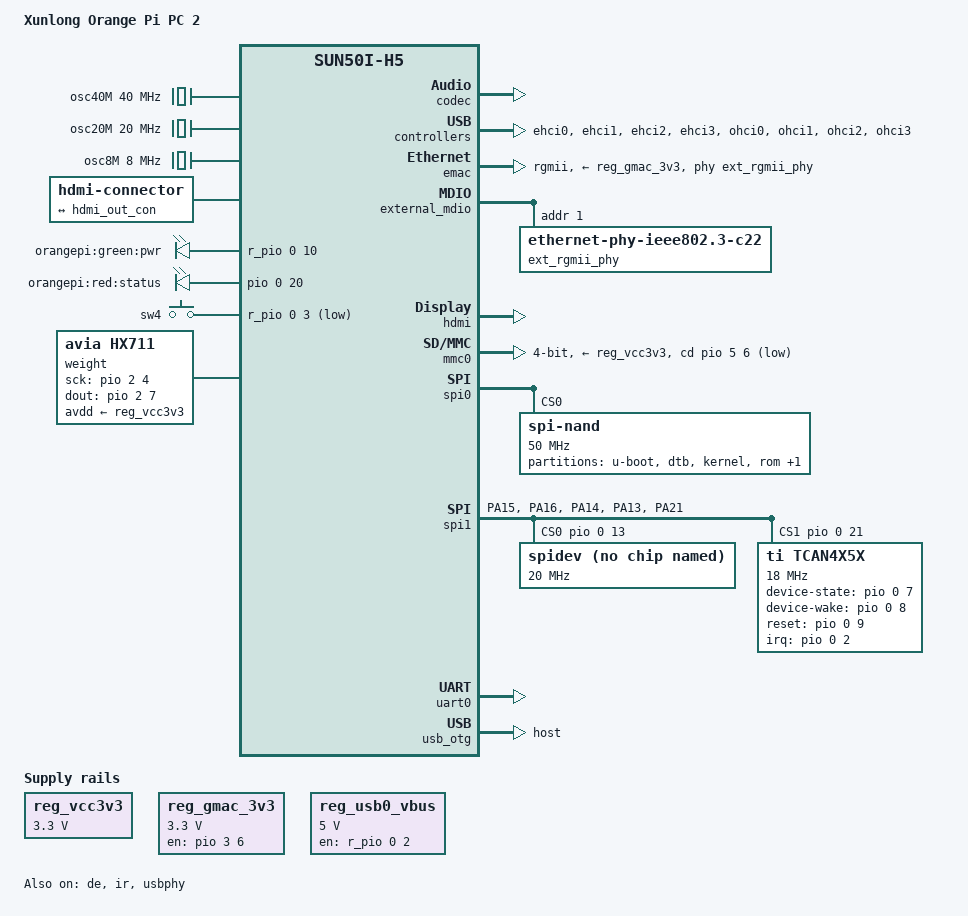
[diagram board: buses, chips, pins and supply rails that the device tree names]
/*
 * Copyright (C) 2016 ARM Ltd.
 *
 * This file is dual-licensed: you can use it either under the terms
 * of the GPL or the X11 license, at your option. Note that this dual
 * licensing only applies to this file, and not this project as a
 * whole.
 *
 *  a) This file is free software; you can redistribute it and/or
 *     modify it under the terms of the GNU General Public License as
 *     published by the Free Software Foundation; either version 2 of the
 *     License, or (at your option) any later version.
 *
 *     This file is distributed in the hope that it will be useful,
 *     but WITHOUT ANY WARRANTY; without even the implied warranty of
 *     MERCHANTABILITY or FITNESS FOR A PARTICULAR PURPOSE.  See the
 *     GNU General Public License for more details.
 *
 * Or, alternatively,
 *
 *  b) Permission is hereby granted, free of charge, to any person
 *     obtaining a copy of this software and associated documentation
 *     files (the "Software"), to deal in the Software without
 *     restriction, including without limitation the rights to use,
 *     copy, modify, merge, publish, distribute, sublicense, and/or
 *     sell copies of the Software, and to permit persons to whom the
 *     Software is furnished to do so, subject to the following
 *     conditions:
 *
 *     The above copyright notice and this permission notice shall be
 *     included in all copies or substantial portions of the Software.
 *
 *     THE SOFTWARE IS PROVIDED "AS IS", WITHOUT WARRANTY OF ANY KIND,
 *     EXPRESS OR IMPLIED, INCLUDING BUT NOT LIMITED TO THE WARRANTIES
 *     OF MERCHANTABILITY, FITNESS FOR A PARTICULAR PURPOSE AND
 *     NONINFRINGEMENT. IN NO EVENT SHALL THE AUTHORS OR COPYRIGHT
 *     HOLDERS BE LIABLE FOR ANY CLAIM, DAMAGES OR OTHER LIABILITY,
 *     WHETHER IN AN ACTION OF CONTRACT, TORT OR OTHERWISE, ARISING
 *     FROM, OUT OF OR IN CONNECTION WITH THE SOFTWARE OR THE USE OR
 *     OTHER DEALINGS IN THE SOFTWARE.
 */

/dts-v1/;
#include "sun50i-h5.dtsi"

#include <dt-bindings/gpio/gpio.h>
#include <dt-bindings/input/input.h>
#include <dt-bindings/pinctrl/sun4i-a10.h>

/ {
	model = "Xunlong Orange Pi PC 2";
	compatible = "xunlong,orangepi-pc2", "allwinner,sun50i-h5";

	reg_vcc3v3: vcc3v3 {
		compatible = "regulator-fixed";
		regulator-name = "vcc3v3";
		regulator-min-microvolt = <3300000>;
		regulator-max-microvolt = <3300000>;
	};

	aliases {
		ethernet0 = &emac;
		serial0 = &uart0;
	};

	chosen {
		stdout-path = "serial0:115200n8";
	};

	clocks {
		osc40M: osc40M_clk {
			#clock-cells = <0>;
			compatible = "fixed-clock";
			clock-frequency = <40000000>;
			clock-accuracy = <50000>;
			clock-output-names = "osc40M";
		};
	
		osc20M: osc20M_clk {
			#clock-cells = <0>;
			compatible = "fixed-clock";
			clock-frequency = <20000000>;
			clock-accuracy = <50000>;
			clock-output-names = "osc20M";
		};

		osc8M: osc8M_clk {
			#clock-cells = <0>;
			compatible = "fixed-clock";
			clock-frequency = <8000000>;
			clock-accuracy = <50000>;
			clock-output-names = "osc8M";
		};
	};

	connector {
		compatible = "hdmi-connector";
		type = "a";

		port {
			hdmi_con_in: endpoint {
				remote-endpoint = <&hdmi_out_con>;
			};
		};
	};

	leds {
		compatible = "gpio-leds";

		pwr {
			label = "orangepi:green:pwr";
			gpios = <&r_pio 0 10 GPIO_ACTIVE_HIGH>;
			default-state = "on";
			linux,default-trigger = "heartbeat";
		};

		status {
			label = "orangepi:red:status";
			gpios = <&pio 0 20 GPIO_ACTIVE_HIGH>;
			default-state = "on";
			linux,default-trigger = "timer";
		};
	};

	r-gpio-keys {
		compatible = "gpio-keys";

		sw4 {
			label = "sw4";
			linux,code = <KEY_POWER>;
			gpios = <&r_pio 0 3 GPIO_ACTIVE_LOW>;
		};
	};

	reg_gmac_3v3: gmac-3v3 {
		compatible = "regulator-fixed";
		regulator-name = "gmac-3v3";
		regulator-min-microvolt = <3300000>;
		regulator-max-microvolt = <3300000>;
		startup-delay-us = <100000>;
		enable-active-high;
		gpio = <&pio 3 6 GPIO_ACTIVE_HIGH>;
	};

	reg_usb0_vbus: usb0-vbus {
		compatible = "regulator-fixed";
		regulator-name = "usb0-vbus";
		regulator-min-microvolt = <5000000>;
		regulator-max-microvolt = <5000000>;
		enable-active-high;
		gpio = <&r_pio 0 2 GPIO_ACTIVE_HIGH>; /* PL2 */
		status = "okay";
	};

	weight {
        compatible = "avia,hx711";
		//pinctrl-names = "default";
		//pinctrl-0 = <&hx711_pins>;
        sck-gpios = <&pio 2 4 GPIO_ACTIVE_HIGH>;
        dout-gpios = <&pio 2 7 GPIO_ACTIVE_HIGH>;
        avdd-supply = <&reg_vcc3v3>;
        clock-frequency = <400000>;
        status = "okay";
    };
};

&codec {
	allwinner,audio-routing =
		"Line Out", "LINEOUT",
		"MIC1", "Mic",
		"Mic",  "MBIAS";
	status = "okay";
};

&de {
	status = "okay";
};

&ehci0 {
	status = "okay";
};

&ehci1 {
	status = "okay";
};

&ehci2 {
	status = "okay";
};

&ehci3 {
	status = "okay";
};

&emac {
	pinctrl-names = "default";
	pinctrl-0 = <&emac_rgmii_pins>;
	phy-supply = <&reg_gmac_3v3>;
	phy-handle = <&ext_rgmii_phy>;
	phy-mode = "rgmii";
	status = "okay";
};

&external_mdio {
	ext_rgmii_phy: ethernet-phy@1 {
		compatible = "ethernet-phy-ieee802.3-c22";
		reg = <1>;
	};
};

&hdmi {
	status = "okay";
};

&hdmi_out {
	hdmi_out_con: endpoint {
		remote-endpoint = <&hdmi_con_in>;
	};
};

&ir {
	pinctrl-names = "default";
	pinctrl-0 = <&r_ir_rx_pin>;
	status = "okay";
};

&mmc0 {
	vmmc-supply = <&reg_vcc3v3>;
	bus-width = <4>;
	cd-gpios = <&pio 5 6 GPIO_ACTIVE_LOW>; /* PF6 */
	status = "okay";
};

&ohci0 {
	status = "okay";
};

&ohci1 {
	status = "okay";
};

&ohci2 {
	status = "okay";
};

&ohci3 {
	status = "okay";
};

&spi0  {
	status = "okay";

	spi-nor@0 {
		#address-cells = <1>;
		#size-cells = <1>;
		compatible = "jedec,spi-nor";
		reg = <0>;
		spi-max-frequency = <40000000>;
		status = "disabled";

		partitions {
			compatible = "fixed-partitions";
			#address-cells = <1>;
			#size-cells = <1>;

			partition@0 {
				label = "u-boot";
				reg = <0x000000 0x0E0000>;
			};
			partition@e0000 {
				label = "u-boot-env";
				reg = <0x0E0000 0x020000>;
			};
			partition@100000 {
				label = "ubi";
				reg = <0x100000 0x100000>;
			};

		};
	};

	spi-nand@0 {
		#address-cells = <1>;
		#size-cells = <1>;
		compatible = "spi-nand";
		reg = <0>;
		spi-max-frequency = <50000000>;
		status = "okay";

		partitions {
			compatible = "fixed-partitions";
			#address-cells = <1>;
			#size-cells = <1>;

			partition@0 {
				label = "u-boot";
				reg = <0x000000 0x80000>;
				read-only;
			};

			partition@1 {
				label = "dtb";
				reg = <0x80000 0x20000>;
				read-only;
			};

			partition@2 {
				label = "kernel";
				reg = <0x100000 0x700000>;
				read-only;
			};

			partition@3 {
				label = "rom";
				reg = <0x800000 0x4000000>;
				read-only;
			};

			partition@4 {
				label = "overlay";
				reg = <0x4800000 0x3000000>;
			};
		};
	};
};

&pio {
	can0_pin_irq: can0_pin_irq {
		pins = "PA2";
		function = "irq";
	};

	can1_pin_irq: can1_pin_irq {
		pins = "PA9";
		function = "irq";
	};

	spi1_pins_cs1: spi1_pins_cs1 {
		pins = "PA13", "PA21";
		function = "gpio_out";
	};

	tcan4x5x_pins: tcan4x5x_pins {
		pins = "PA8", "PA9";
		function = "gpio_out";
	};

	tcan4x5x_pins_in: tcan4x5x_pins_in {
		pins = "PA7";
		function = "gpio_in";
	};

	rc522_reset_pins: rc522_reset_pins {
		pins = "PA3";
		function = "gpio_out";
	};

	rc522_irq_pins: rc522_irq_pins {
		pins = "PA2";
		function = "gpio_in";
	};

	hx711_pins: hx711_pins {
		pins = "PC4", "PC7";
		function = "gpio_out";
	};

	spi1_pins: spi1-pins {
		pins = "PA15", "PA16", "PA14", "PA13";
		function = "spi1";
	};
};

&spi1 {
	#address-cells = <1>;
	#size-cells = <0>;
	pinctrl-names = "default";
	spi-num-chipselects = <2>;
	pinctrl-0 = <&spi1_pins &spi1_pins_cs1>;
	cs-gpios = <&pio 0 13 GPIO_ACTIVE_HIGH>, <&pio 0 21 GPIO_ACTIVE_HIGH>;
	status = "okay";

	spidev: spidev@1 {
		reg = <0>;
		compatible = "rohm,dh2228fv";
		spi-max-frequency = <20000000>;
	};

	tcan4x5x: tcan4x5x@0 {
		compatible = "ti,tcan4x5x";
		reg = <1>;
		#address-cells = <1>;
		#size-cells = <1>;
		spi-max-frequency = <18000000>;
		bosch,mram-cfg = <0x0 0 0 32 0 0 1 1>;
		pinctrl-names = "default";
		pinctrl-0 = <&can0_pin_irq &tcan4x5x_pins_in &tcan4x5x_pins>;
		interrupt-parent = <&pio>;
		interrupts = <0 2 GPIO_ACTIVE_LOW>; // PA2 / IRQ_TYPE_LEVEL_LOW
		device-state-gpios = <&pio 0 7 GPIO_ACTIVE_HIGH>; // input
		device-wake-gpios = <&pio 0 8 GPIO_ACTIVE_HIGH>;
		reset-gpios = <&pio 0 9 GPIO_ACTIVE_HIGH>;
		//clocks = <&osc40M>;
	};

/*
	can0: can@0 {
		reg = <0>;
		compatible = "microchip,mcp2518fd";
		spi-max-frequency = <20000000>;
		pinctrl-names = "default";
		pinctrl-0 = <&can0_pin_irq>;
		interrupt-parent = <&pio>;
		interrupts = <0 2 IRQ_TYPE_LEVEL_LOW>; // PA2 / IRQ_TYPE_LEVEL_LOW
		clocks = <&osc40M>;
		vdd-supply = <&reg_vcc3v3>;
		xceiver-supply = <&reg_vcc3v3>;
	};

	can1: can@1 {
		reg = <1>;
		compatible = "microchip,mcp2515";
		spi-max-frequency = <2000000>;
		pinctrl-names = "default";
		pinctrl-0 = <&can1_pin_irq>;
		interrupt-parent = <&pio>;
		interrupts = <0 9 IRQ_TYPE_LEVEL_LOW>; / PA9 / IRQ_TYPE_LEVEL_LOW
		clocks = <&osc8M>;
		vdd-supply = <&reg_vcc3v3>;
		xceiver-supply = <&reg_vcc3v3>;
	};
*/

};

&uart0 {
	pinctrl-names = "default";
	pinctrl-0 = <&uart0_pa_pins>;
	status = "okay";
};

&uart1 {
	pinctrl-names = "default";
	pinctrl-0 = <&uart1_pins>;
	status = "disabled";
};

&uart2 {
	pinctrl-names = "default";
	pinctrl-0 = <&uart2_pins>;
	status = "disabled";
};

&usb_otg {
	dr_mode = "host";
	status = "okay";
};

&usbphy {
	/* USB Type-A ports' VBUS is always on */
	usb0_id_det-gpios = <&pio 6 12 GPIO_ACTIVE_HIGH>; /* PG12 */
	usb0_vbus-supply = <&reg_usb0_vbus>;
	status = "okay";
};
